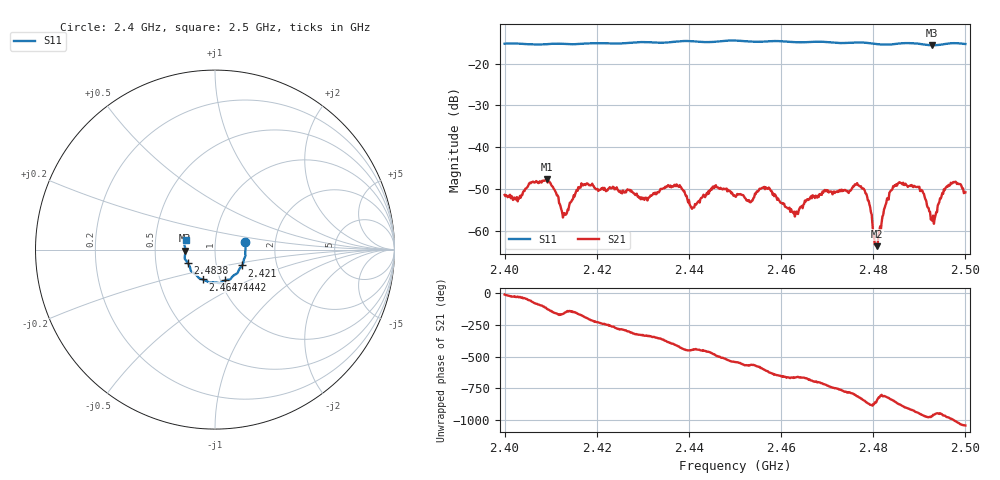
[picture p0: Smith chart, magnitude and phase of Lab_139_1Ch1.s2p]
# Hz S RI R 50
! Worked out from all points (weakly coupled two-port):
!   601 points, 2.4 GHz to 2.5 GHz, reference 50 ohm
!   highest |S21| = -47.67 dB at 2.4092 GHz (marker M1); lowest = -63.6 dB at 2.4808 GHz (marker M2)
!   lowest |S11| = -15.6 dB at 2.4928 GHz (marker M3), VSWR 1.40, Z = 35.8 - j0.389 ohm
!   |S11| at or under -10 dB: start of sweep to end of sweep
!   S12 and S22 are empty: the file has one direction only
!   S11 on the Smith chart (normalised r, x): 2.4 GHz: 1.40, +0.12; 2.421 GHz: 1.33, -0.24; 2.4442 GHz: 1.05, -0.37; 2.4647 GHz: 0.83, -0.29; 2.4838 GHz: 0.73, -0.11; 2.5 GHz: 0.72, +0.08
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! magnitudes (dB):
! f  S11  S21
! 2.4 GHz  -15.2  -51.4
! 2.4092 GHz  -15.4  -47.7
! 2.413 GHz  -15.3  -55.8
! 2.4167 GHz  -15.3  -48.6
! 2.421 GHz  -15.1  -49.8
! 2.4333 GHz  -15.0  -50.8
! 2.4378 GHz  -14.7  -49.5
! 2.4407 GHz  -14.6  -54.7
! 2.4442 GHz  -14.9  -50.6
! 2.45 GHz  -14.5  -51.7
! 2.4568 GHz  -14.7  -49.8
! 2.4647 GHz  -14.9  -54.6
! 2.4667 GHz  -14.8  -52.2
! 2.477 GHz  -15.0  -49.3
! 2.4788 GHz  -15.1  -52.7
! 2.4808 GHz  -15.4  -63.6
! 2.4833 GHz  -15.5  -52.5
! 2.4838 GHz  -15.4  -50.3
! 2.4895 GHz  -15.2  -49.5
! 2.4928 GHz  -15.6  -57.6
! 2.4963 GHz  -15.2  -49.0
! 2.5 GHz  -15.3  -50.8
